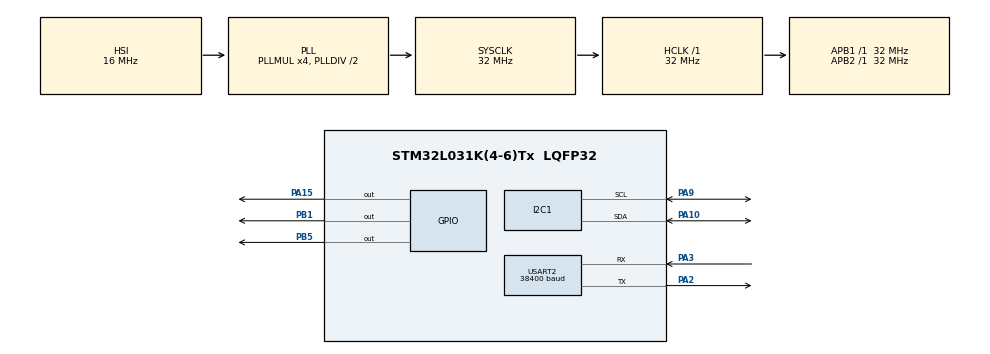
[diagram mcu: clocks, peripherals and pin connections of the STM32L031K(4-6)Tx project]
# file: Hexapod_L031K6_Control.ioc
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I2C1.Timing=0x00707CBB
Mcu.Family=STM32L0
Mcu.Name=STM32L031K(4-6)Tx
Mcu.Package=LQFP32
NVIC.USART2_IRQn=true\:0\:0\:false\:false\:true\:true\:true\:true
PA10.Mode=I2C
PA10.Signal=I2C1_SDA
PA13.GPIO_Label=TMS
PA13.Mode=Serial_Wire
PA13.Signal=SYS_SWDIO
PA14.GPIO_Label=TCK
PA14.Mode=Serial_Wire
PA14.Signal=SYS_SWCLK
PA15.Signal=GPIO_Output
PA2.Mode=Asynchronous
PA2.Signal=USART2_TX
PA3.Mode=Asynchronous
PA3.Signal=USART2_RX
PA9.Mode=I2C
PA9.Signal=I2C1_SCL
PB1.Signal=GPIO_Output
PB5.Signal=GPIO_Output
PC14-OSC32_IN.Mode=LSE-External-Oscillator
PC14-OSC32_IN.Signal=RCC_OSC32_IN
PC15-OSC32_OUT.Mode=LSE-External-Oscillator
PC15-OSC32_OUT.Signal=RCC_OSC32_OUT
ProjectManager.HeapSize=0x200
ProjectManager.StackSize=0x400
ProjectManager.TargetToolchain=STM32CubeIDE
RCC.AHBFreq_Value=32000000
RCC.APB1Freq_Value=32000000
RCC.APB1TimFreq_Value=32000000
RCC.APB2Freq_Value=32000000
RCC.APB2TimFreq_Value=32000000
RCC.HCLKFreq_Value=32000000
RCC.HSE_VALUE=8000000
RCC.HSI16_VALUE=16000000
RCC.HSI48_VALUE=48000000
RCC.HSI_VALUE=16000000
RCC.MSI_VALUE=2097000
RCC.PLLMUL=RCC_PLLMUL_4
RCC.SYSCLKFreq_VALUE=32000000
RCC.SYSCLKSource=RCC_SYSCLKSOURCE_PLLCLK
RCC.VCOOutputFreq_Value=64000000
USART2.BaudRate=38400
USART2.VirtualMode-Asynchronous=VM_ASYNC
board=NUCLEO-L031K6

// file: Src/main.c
/* USER CODE BEGIN Header */
/**
  ******************************************************************************
  * @file           : main.c
  * @brief          : Main program body
  ******************************************************************************
  * @attention
  *
  * Copyright (c) 2023 STMicroelectronics.
  * All rights reserved.
  *
  * This software is licensed under terms that can be found in the LICENSE file
  * in the root directory of this software component.
  * If no LICENSE file comes with this software, it is provided AS-IS.
  *
  ******************************************************************************
  */
/* USER CODE END Header */
#include "main.h"

/* USER CODE BEGIN Includes */
#include "Hexapod_Driver_PWM.h"
#include "Robot_Base_Settings.h"
/* USER CODE END Includes */

I2C_HandleTypeDef hi2c1;
UART_HandleTypeDef huart2;

/* USER CODE BEGIN PV */
Hexapod_PWM_Driver controller;
void (*ActionTable[STATES_AMOUNT])(Hexapod_PWM_Driver *controller);
uint8_t znak = 0;
uint8_t state = 0;
/* USER CODE END PV */

void SystemClock_Config(void);
static void MX_GPIO_Init(void);
static void MX_I2C1_Init(void);
static void MX_USART2_UART_Init(void);

/* USER CODE BEGIN PFP */
void ForwardMovement(Hexapod_PWM_Driver *controller) {
	state=znak;
}

void BackwardMovement(Hexapod_PWM_Driver *controller) {
	state=znak;
}

void TurnRight(Hexapod_PWM_Driver *controller) {
	state=znak;
}

void TurnLeft(Hexapod_PWM_Driver *controller) {
	state=znak;
}

void Pause(Hexapod_PWM_Driver * controller){
	state=znak;
}

void DefaultAction(Hexapod_PWM_Driver *controller) {
    // Blank or wrong message
}

void InitActionTable(Hexapod_PWM_Driver *controller) {
    for (int i = 0; i < STATES_AMOUNT; i++) {
        ActionTable[i] = DefaultAction;
    }
    ActionTable['F'] = ForwardMovement;
    ActionTable['B'] = BackwardMovement;
    ActionTable['R'] = TurnRight;
    ActionTable['L'] = TurnLeft;
    ActionTable['P'] = Pause;
}

/* USER CODE END PFP */

/* USER CODE BEGIN 0 */
void HAL_UART_RxCpltCallback(UART_HandleTypeDef *huart) {
    if (huart->Instance == USART2) {
    	(*ActionTable[znak])(&controller);

        HAL_UART_Receive_IT(&huart2, &znak, 1);
    }
}
/* USER CODE END 0 */

int main(void) {

    /* MCU Configuration--------------------------------------------------------*/

    /* Reset of all peripherals, Initializes the Flash interface and the Systick. */
    HAL_Init();

    /* Configure the system clock */
    SystemClock_Config();

    /* Initialize all configured peripherals */
    MX_GPIO_Init();
    MX_I2C1_Init();
    MX_USART2_UART_Init();

    /* USER CODE BEGIN 2 */
    Hexapod_PWM_Driver_Init(&controller, &hi2c1, 0x80);  // PCA9685 address
    Hexapod_PWM_Driver_BasePosition(&controller);

    HAL_UART_Receive_IT(&huart2, &znak, 1);

    InitActionTable(&controller);
    HAL_Delay(1000);

    /* USER CODE END 2 */

    /* Infinite loop */
    /* USER CODE BEGIN WHILE */
    while (1) {

    	switch (state) {
			case 'F':
				Hexapod_PWM_Driver_Forward(&controller, 1);
				break;
			case 'B':
				Hexapod_PWM_Driver_Forward(&controller, -1);
				break;
			case 'R':
				Hexapod_PWM_Driver_Turnover(&controller, 1);
				break;
			case 'L':
				Hexapod_PWM_Driver_Turnover(&controller, -1);
				break;
			case 'P':
				Hexapod_PWM_Driver_BasePosition(&controller);
				break;
			default:

				break;
		}

    /* USER CODE END WHILE */

	}
}

void SystemClock_Config(void)
{
  RCC_OscInitTypeDef RCC_OscInitStruct = {0};
  RCC_ClkInitTypeDef RCC_ClkInitStruct = {0};
  RCC_PeriphCLKInitTypeDef PeriphClkInit = {0};

  /** Configure the main internal regulator output voltage
  */
  __HAL_PWR_VOLTAGESCALING_CONFIG(PWR_REGULATOR_VOLTAGE_SCALE1);

  /** Initializes the RCC Oscillators according to the specified parameters
  * in the RCC_OscInitTypeDef structure.
  */
  RCC_OscInitStruct.OscillatorType = RCC_OSCILLATORTYPE_HSI;
  RCC_OscInitStruct.HSIState = RCC_HSI_ON;
  RCC_OscInitStruct.HSICalibrationValue = RCC_HSICALIBRATION_DEFAULT;
  RCC_OscInitStruct.PLL.PLLState = RCC_PLL_ON;
  RCC_OscInitStruct.PLL.PLLSource = RCC_PLLSOURCE_HSI;
  RCC_OscInitStruct.PLL.PLLMUL = RCC_PLLMUL_4;
  RCC_OscInitStruct.PLL.PLLDIV = RCC_PLLDIV_2;
  if (HAL_RCC_OscConfig(&RCC_OscInitStruct) != HAL_OK)
  {
    Error_Handler();
  }

  /** Initializes the CPU, AHB and APB buses clocks
  */
  RCC_ClkInitStruct.ClockType = RCC_CLOCKTYPE_HCLK|RCC_CLOCKTYPE_SYSCLK
                              |RCC_CLOCKTYPE_PCLK1|RCC_CLOCKTYPE_PCLK2;
  RCC_ClkInitStruct.SYSCLKSource = RCC_SYSCLKSOURCE_PLLCLK;
  RCC_ClkInitStruct.AHBCLKDivider = RCC_SYSCLK_DIV1;
  RCC_ClkInitStruct.APB1CLKDivider = RCC_HCLK_DIV1;
  RCC_ClkInitStruct.APB2CLKDivider = RCC_HCLK_DIV1;

  if (HAL_RCC_ClockConfig(&RCC_ClkInitStruct, FLASH_LATENCY_1) != HAL_OK)
  {
    Error_Handler();
  }
  PeriphClkInit.PeriphClockSelection = RCC_PERIPHCLK_USART2|RCC_PERIPHCLK_I2C1;
  PeriphClkInit.Usart2ClockSelection = RCC_USART2CLKSOURCE_PCLK1;
  PeriphClkInit.I2c1ClockSelection = RCC_I2C1CLKSOURCE_PCLK1;
  if (HAL_RCCEx_PeriphCLKConfig(&PeriphClkInit) != HAL_OK)
  {
    Error_Handler();
  }
}

static void MX_I2C1_Init(void)
{

  hi2c1.Instance = I2C1;
  hi2c1.Init.Timing = 0x00707CBB;
  hi2c1.Init.OwnAddress1 = 0;
  hi2c1.Init.AddressingMode = I2C_ADDRESSINGMODE_7BIT;
  hi2c1.Init.DualAddressMode = I2C_DUALADDRESS_DISABLE;
  hi2c1.Init.OwnAddress2 = 0;
  hi2c1.Init.OwnAddress2Masks = I2C_OA2_NOMASK;
  hi2c1.Init.GeneralCallMode = I2C_GENERALCALL_DISABLE;
  hi2c1.Init.NoStretchMode = I2C_NOSTRETCH_DISABLE;
  if (HAL_I2C_Init(&hi2c1) != HAL_OK)
  {
    Error_Handler();
  }

  /** Configure Analogue filter
  */
  if (HAL_I2CEx_ConfigAnalogFilter(&hi2c1, I2C_ANALOGFILTER_ENABLE) != HAL_OK)
  {
    Error_Handler();
  }

  /** Configure Digital filter
  */
  if (HAL_I2CEx_ConfigDigitalFilter(&hi2c1, 0) != HAL_OK)
  {
    Error_Handler();
  }

}

static void MX_USART2_UART_Init(void)
{

  huart2.Instance = USART2;
  huart2.Init.BaudRate = 38400;
  huart2.Init.WordLength = UART_WORDLENGTH_8B;
  huart2.Init.StopBits = UART_STOPBITS_1;
  huart2.Init.Parity = UART_PARITY_NONE;
  huart2.Init.Mode = UART_MODE_TX_RX;
  huart2.Init.HwFlowCtl = UART_HWCONTROL_NONE;
  huart2.Init.OverSampling = UART_OVERSAMPLING_16;
  huart2.Init.OneBitSampling = UART_ONE_BIT_SAMPLE_DISABLE;
  huart2.AdvancedInit.AdvFeatureInit = UART_ADVFEATURE_NO_INIT;
  if (HAL_UART_Init(&huart2) != HAL_OK)
  {
    Error_Handler();
  }

}

static void MX_GPIO_Init(void)
{
  GPIO_InitTypeDef GPIO_InitStruct = {0};

  /* GPIO Ports Clock Enable */
  __HAL_RCC_GPIOC_CLK_ENABLE();
  __HAL_RCC_GPIOA_CLK_ENABLE();
  __HAL_RCC_GPIOB_CLK_ENABLE();

  /*Configure GPIO pin Output Level */
  HAL_GPIO_WritePin(GPIOB, GPIO_PIN_1|GPIO_PIN_5, GPIO_PIN_RESET);

  /*Configure GPIO pin Output Level */
  HAL_GPIO_WritePin(GPIOA, GPIO_PIN_15, GPIO_PIN_RESET);

  /*Configure GPIO pins : PB1 PB5 */
  GPIO_InitStruct.Pin = GPIO_PIN_1|GPIO_PIN_5;
  GPIO_InitStruct.Mode = GPIO_MODE_OUTPUT_PP;
  GPIO_InitStruct.Pull = GPIO_NOPULL;
  GPIO_InitStruct.Speed = GPIO_SPEED_FREQ_LOW;
  HAL_GPIO_Init(GPIOB, &GPIO_InitStruct);

  /*Configure GPIO pin : PA15 */
  GPIO_InitStruct.Pin = GPIO_PIN_15;
  GPIO_InitStruct.Mode = GPIO_MODE_OUTPUT_PP;
  GPIO_InitStruct.Pull = GPIO_NOPULL;
  GPIO_InitStruct.Speed = GPIO_SPEED_FREQ_LOW;
  HAL_GPIO_Init(GPIOA, &GPIO_InitStruct);

}

void Error_Handler(void)
{
  __disable_irq();
  while (1)
  {
  }
}
